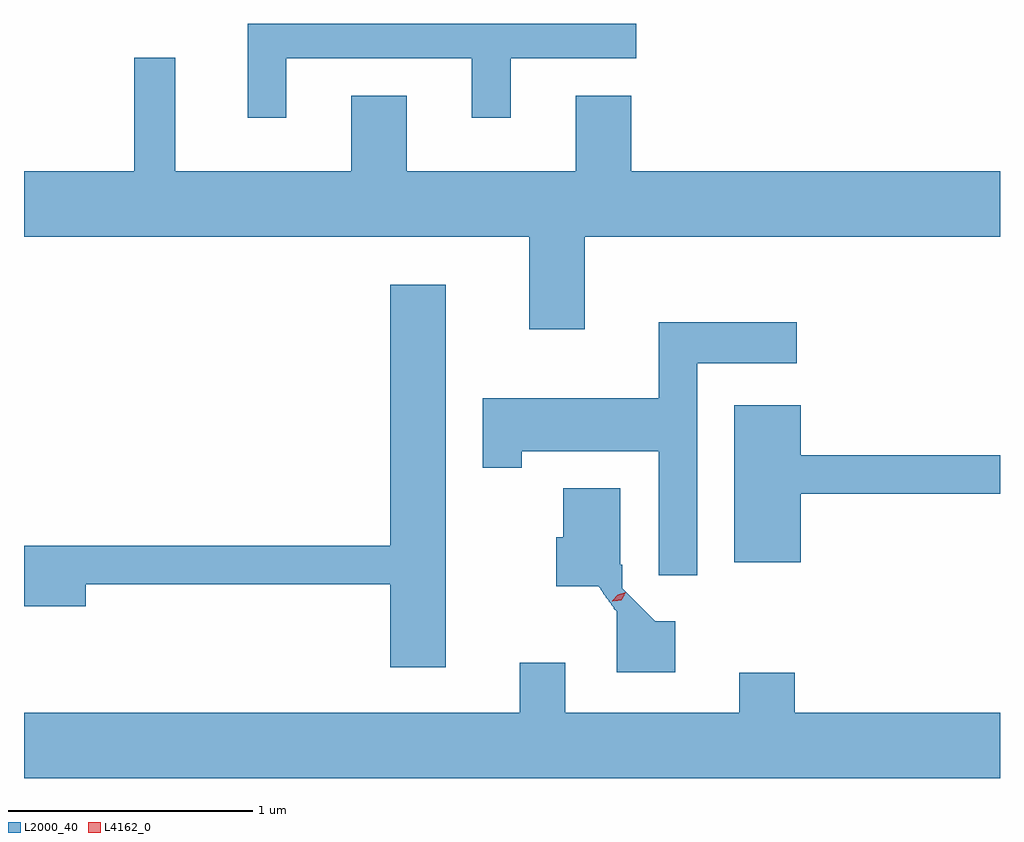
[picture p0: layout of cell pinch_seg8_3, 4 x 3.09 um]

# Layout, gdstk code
import gdstk
lib = gdstk.Library(unit=1e-6, precision=1e-09)
def P(c, l, *ps):  # polygons
    for p in ps: c.add(gdstk.Polygon(p, *l))
L2000_40 = (2000, 40)
L4162_0 = (4162, 0)

pinch_seg8_3 = lib.new_cell('pinch_seg8_3')
P(pinch_seg8_3, L2000_40, [(1710.404,1925.946),(1711.166,1925.946),(1711.166,1925.703),(1711.324,1925.703),(1711.324,1925.946),(1711.839,1925.946),(1711.839,1926.088),(1710.246,1926.088),(1710.246,1925.703),(1710.404,1925.703)],
  [(1711.629,1925.216),(1713.33,1925.216),(1713.33,1925.484),(1711.819,1925.484),(1711.819,1925.794),(1711.591,1925.794),(1711.591,1925.484),(1710.899,1925.484),(1710.899,1925.794),(1710.671,1925.794),(1710.671,1925.484),(1709.949,1925.484),(1709.949,1925.948),(1709.781,1925.948),(1709.781,1925.484),(1709.33,1925.484),(1709.33,1925.216),(1711.401,1925.216),(1711.401,1924.836),(1711.629,1924.836)],
  [(1711.059,1925.019),(1710.831,1925.019),(1710.831,1923.949),(1709.33,1923.949),(1709.33,1923.701),(1709.584,1923.701),(1709.584,1923.791),(1710.831,1923.791),(1710.831,1923.451),(1711.059,1923.451)],
  [(1712.089,1924.696),(1712.498,1924.696),(1712.498,1924.864),(1711.931,1924.864),(1711.931,1924.554),(1711.211,1924.554),(1711.211,1924.268),(1711.369,1924.268),(1711.369,1924.336),(1711.931,1924.336),(1711.931,1923.828),(1712.089,1923.828)],
  [(1712.514,1924.161),(1713.33,1924.161),(1713.33,1924.319),(1712.514,1924.319),(1712.514,1924.524),(1712.241,1924.524),(1712.241,1923.881),(1712.514,1923.881)],
  [(1711.999,1923.639),(1711.917,1923.639),(1711.781,1923.775),(1711.781,1923.87),(1711.774,1923.87),(1711.774,1924.184),(1711.541,1924.184),(1711.541,1923.984),(1711.511,1923.984),(1711.511,1923.782),(1711.683,1923.782),(1711.693,1923.772),(1711.693,1923.768),(1711.704,1923.757),(1711.704,1923.752),(1711.715,1923.741),(1711.715,1923.737),(1711.726,1923.726),(1711.726,1923.722),(1711.737,1923.711),(1711.737,1923.707),(1711.748,1923.696),(1711.748,1923.691),(1711.759,1923.68),(1711.759,1923.431),(1711.999,1923.431)],
  [(1713.33,1923.264),(1712.489,1923.264),(1712.489,1923.429),(1712.261,1923.429),(1712.261,1923.264),(1711.549,1923.264),(1711.549,1923.469),(1711.361,1923.469),(1711.361,1923.264),(1709.33,1923.264),(1709.33,1922.996),(1713.33,1922.996)])
P(pinch_seg8_3, L4162_0, [(1711.741,1923.722),(1711.741,1923.723),(1711.763,1923.748),(1711.796,1923.758),(1711.796,1923.758),(1711.796,1923.757),(1711.774,1923.731),(1711.742,1923.722)],
  [(1711.751,1923.722),(1711.752,1923.722),(1711.767,1923.743),(1711.792,1923.748),(1711.793,1923.748),(1711.793,1923.747),(1711.778,1923.726),(1711.752,1923.722)])

lib.write_gds('pinch_seg8_3.gds')
